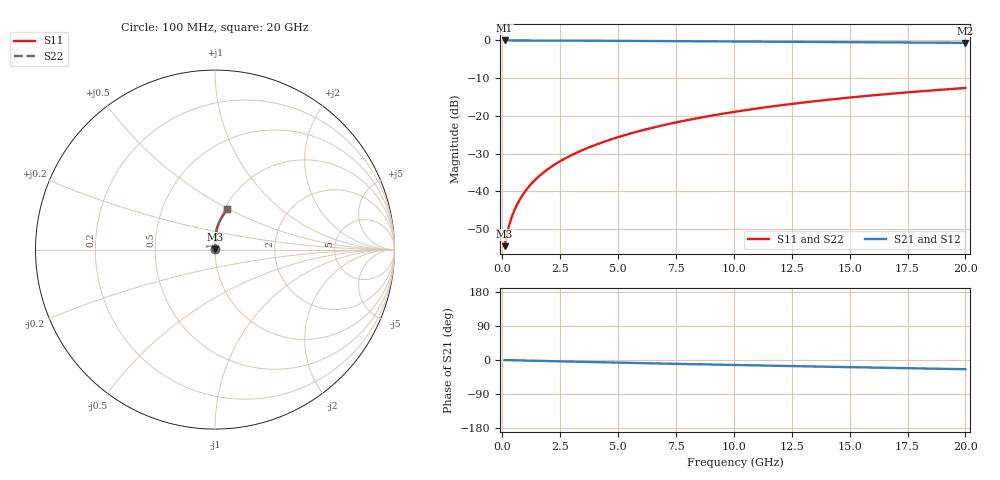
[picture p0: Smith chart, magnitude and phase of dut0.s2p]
! Touchstone file exported from HFSS 2024.1.0
!  File:  C:/UserFiles/LocalFiles/RDL_TSV_Batchsim/temp_RDL_bottom_0_1778690817.aedt
!  Generated:  12:49:35 AM May 14, 2026
!  Design:  RDL_bottom
!  Project:  temp_RDL_bottom_0_1778690817
!  Setup:  Setup1
!  Solution:  Sweep
! Variables:
!  dtsv = 10.80580581um
!  hbump = 3um
!  htsv = 75.89um
!  ldown = 332.81um
!  lrdl = 100um
!  p = 40
!  p1 = 49.14um
!  rhole = 1um
!  t = 450um
!  tdown = 3.74um
!  trdl = 3.915915916um
!  wdown = 24.15um
!  wrdl = 20um
# GHz S MA R 50.000000
! Terminal data exported
! Port[1] = RDL1_T1
! Port[2] = RDL1_T2
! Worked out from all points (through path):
!   200 points, 100 MHz to 20 GHz, reference 50 ohm
!   highest |S21| = -0.01 dB at 100 MHz (marker M1); lowest = -0.6 dB at 20 GHz (marker M2)
!   group delay of S21, straight-line fit = 3.34 ps
!   lowest |S11| = -54.5 dB at 100 MHz (marker M3), VSWR 1.00, Z = 50.2 + j0.111 ohm
!   |S11| at or under -10 dB: start of sweep to end of sweep
!   |S22| runs from -54.5 to -12.6 dB; largest |S21 - S12| = 3.1e-15
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0.1  0.001885 36.1  0.9985 -0.2  0.9985 -0.2  0.001885 36.1
! Gamma 0 0 0 0
! Port Impedance 50 0 50 0
0.2  0.002698 53.5  0.9984 -0.3  0.9984 -0.3  0.002698 53.5
0.3  0.003595 62.1  0.9983 -0.4  0.9983 -0.4  0.003595 62.1
0.4  0.004506 67.3  0.9982 -0.6  0.9982 -0.6  0.004506 67.3
0.5  0.005425 70.9  0.9981 -0.7  0.9981 -0.7  0.005425 70.9
0.6  0.006354 73.6  0.998 -0.9  0.998 -0.9  0.006354 73.6
0.8  0.008241 77.3  0.9978 -1.2  0.9978 -1.2  0.008241 77.3
1.1  0.01113 80.8  0.9974 -1.6  0.9974 -1.6  0.01113 80.8
1.3  0.01308 82.3  0.9972 -1.9  0.9972 -1.9  0.01308 82.3
1.6  0.01604 84.0  0.9967 -2.3  0.9967 -2.3  0.01604 84.0
2.1  0.02106 85.8  0.9958 -3.0  0.9958 -3.0  0.02106 85.8
2.7  0.02722 87.1  0.9945 -3.8  0.9945 -3.8  0.02722 87.1
3.5  0.03568 88.1  0.9922 -5.0  0.9922 -5.0  0.03569 88.1
4.2  0.04333 88.6  0.99 -5.9  0.99 -5.9  0.04333 88.6
5  0.05232 88.7  0.9872 -7.0  0.9872 -7.0  0.05233 88.7
6.8  0.07346 88.1  0.9803 -9.3  0.9803 -9.3  0.07347 88.1
8.4  0.09301 86.9  0.9739 -11.2  0.9739 -11.2  0.09302 86.9
10.1  0.1142 85.1  0.9671 -13.3  0.9671 -13.3  0.1142 85.1
11.7  0.1342 83.2  0.9607 -15.1  0.9607 -15.1  0.1342 83.2
13.4  0.1554 81.1  0.9541 -17.1  0.9541 -17.1  0.1554 81.1
16.7  0.1956 76.9  0.9413 -20.7  0.9413 -20.7  0.1956 76.9
20  0.2342 72.7  0.9284 -24.4  0.9284 -24.4  0.2342 72.7
